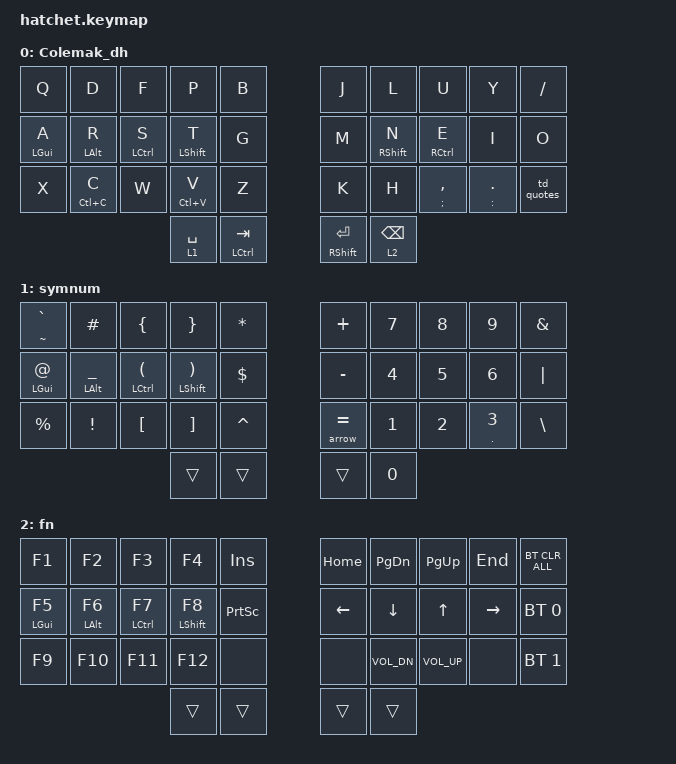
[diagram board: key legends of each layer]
#include <behaviors.dtsi>
#include <dt-bindings/zmk/keys.h>
#include <dt-bindings/zmk/bt.h>

/ {
    behaviors {
        hmr: hmr {
            compatible = "zmk,behavior-hold-tap";
            label = "HMR";
            bindings = <&kp>, <&kp>;

            #binding-cells = <2>;
            tapping-term-ms = <175>;
            quick-tap-ms = <175>;
            flavor = "tap-preferred";
        };

        hmrs: hmrs {
            compatible = "zmk,behavior-hold-tap";
            label = "HMRS";
            bindings = <&kp>, <&kp>;

            #binding-cells = <2>;
            flavor = "tap-preferred";
            tapping-term-ms = <200>;
        };

        td_quotes: td_quotes {
            compatible = "zmk,behavior-tap-dance";
            label = "TD_QUOTES";
            #binding-cells = <0>;
            bindings = <&kp SINGLE_QUOTE>, <&kp DOUBLE_QUOTES>;

            tapping-term-ms = <150>;
        };

        hold_arrow: hold_arrow {
            compatible = "zmk,behavior-hold-tap";
            label = "HOLD_ARROW";
            bindings = <&arrow>, <&kp>;

            #binding-cells = <2>;
            tapping-term-ms = <175>;
            flavor = "tap-preferred";
        };
    };

    combos {
        compatible = "zmk,combos";

        Esc {
            bindings = <&kp ESCAPE>;
            key-positions = <1 2>;
        };

        Delete {
            bindings = <&kp DELETE>;
            key-positions = <27 28>;
        };
    };

    macros {
        arrow: arr {
            compatible = "zmk,behavior-macro";
            #binding-cells = <0>;
            bindings = <&kp SPACE &kp EQUAL &kp GT>;
            label = "ARR";
        };
    };

    keymap {
        compatible = "zmk,keymap";

        Colemak_dh {
            bindings = <
                &kp Q             &kp D             &kp F         &kp P          &kp B             &kp J                       &kp L          &kp U                  &kp Y            &kp SLASH
                &hmrs LEFT_GUI A  &hmrs LEFT_ALT R  &hmr LCTRL S  &hmr LSHIFT T  &kp G             &kp M                       &hmr RSHIFT N  &hmr RIGHT_CONTROL E   &kp I            &kp O
                &kp X             &hmr LC(C) C      &kp W         &hmr LC(V) V   &kp Z             &kp K                       &kp H          &hmrs SEMICOLON COMMA  &hmrs COLON DOT  &td_quotes
                                                                  &lt 1 SPACE   &hmr LCTRL TAB     &hmr RIGHT_SHIFT ENTER      &lt 2 BACKSPACE    
            >;
        };

        symnum {
            display-name = "symnum";

            bindings = <
                &mt TILDE GRAVE     &kp POUND                  &kp LEFT_BRACE                      &kp RIGHT_BRACE                    &kp ASTERISK    &kp PLUS             &kp N7        &kp N8        &kp N9               &kp AMPERSAND  
                &hmrs LGUI AT_SIGN  &hmrs LEFT_ALT UNDERSCORE  &hmr LEFT_CONTROL LEFT_PARENTHESIS  &hmr LEFT_SHIFT RIGHT_PARENTHESIS  &kp DOLLAR      &kp MINUS            &kp NUMBER_4  &kp NUMBER_5  &kp NUMBER_6         &kp PIPE
                &kp PERCENT         &kp EXCLAMATION            &kp LEFT_BRACKET                    &kp RIGHT_BRACKET                  &kp CARET       &hold_arrow 0 EQUAL  &kp NUMBER_1  &kp NUMBER_2  &mt PERIOD NUMBER_3  &kp BACKSLASH
                                                                                                   &trans                             &trans          &trans               &kp N0        
            >;
        };

        fn {
            display-name = "fn";

            bindings = <
                &kp F1         &kp F2         &kp F3         &kp F4          &kp INS            &kp HOME  &kp PAGE_DOWN   &kp PG_UP        &kp END    &bt BT_CLR_ALL
                &hmrs LGUI F5  &hmrs LALT F6  &hmr LCTRL F7  &hmr LSHIFT F8  &kp PRINTSCREEN    &kp LEFT  &kp DOWN_ARROW  &kp UP_ARROW     &kp RIGHT  &bt BT_SEL 0
                &kp F9         &kp F10        &kp F11        &kp F12         &none              &none     &kp C_VOL_DN    &kp C_VOL_UP     &none      &bt BT_SEL 1
                                                             &trans          &trans             &trans    &trans
            >;
        };
    };
 };
